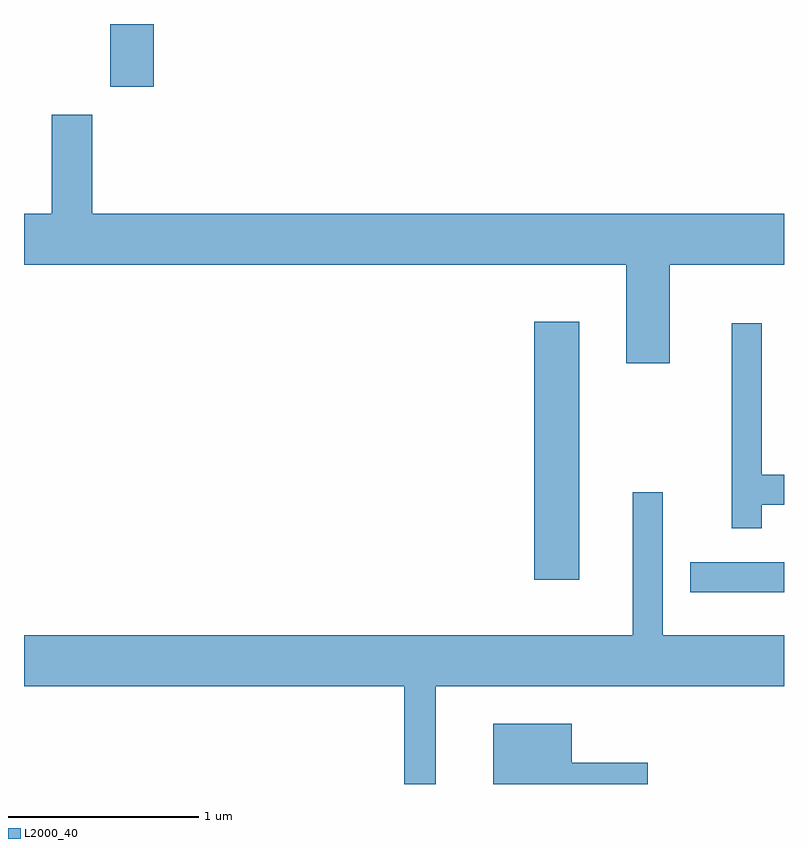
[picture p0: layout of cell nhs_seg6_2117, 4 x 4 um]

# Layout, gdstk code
import gdstk
lib = gdstk.Library(unit=1e-6, precision=1e-09)
def R(c, l, rs):  # rectangles x0, y0, x1, y1
    for r in rs: c.add(gdstk.rectangle(r[:2], r[2:], *l))
def P(c, l, *ps):  # polygons
    for p in ps: c.add(gdstk.Polygon(p, *l))
L2000_40 = (2000, 40)

nhs_seg6_2117 = lib.new_cell('nhs_seg6_2117')
R(nhs_seg6_2117, L2000_40, [(253.118,1577.171,253.611,1577.329), (252.296,1577.236,252.534,1578.594), (250.066,1579.831,250.294,1580.162)])
P(nhs_seg6_2117, L2000_40, [(253.009,1578.896),(253.611,1578.896),(253.611,1579.164),(249.969,1579.164),(249.969,1579.684),(249.756,1579.684),(249.756,1579.164),(249.611,1579.164),(249.611,1578.896),(252.781,1578.896),(252.781,1578.376),(253.009,1578.376)],
  [(253.494,1577.631),(253.611,1577.631),(253.611,1577.789),(253.494,1577.789),(253.494,1578.588),(253.336,1578.588),(253.336,1577.508),(253.494,1577.508)],
  [(251.779,1576.676),(253.611,1576.676),(253.611,1576.944),(252.974,1576.944),(252.974,1577.698),(252.816,1577.698),(252.816,1576.944),(249.611,1576.944),(249.611,1576.676),(251.611,1576.676),(251.611,1576.162),(251.779,1576.162)],
  [(252.894,1576.274),(252.494,1576.274),(252.494,1576.479),(252.081,1576.479),(252.081,1576.162),(252.894,1576.162)])

lib.write_gds('nhs_seg6_2117.gds')
